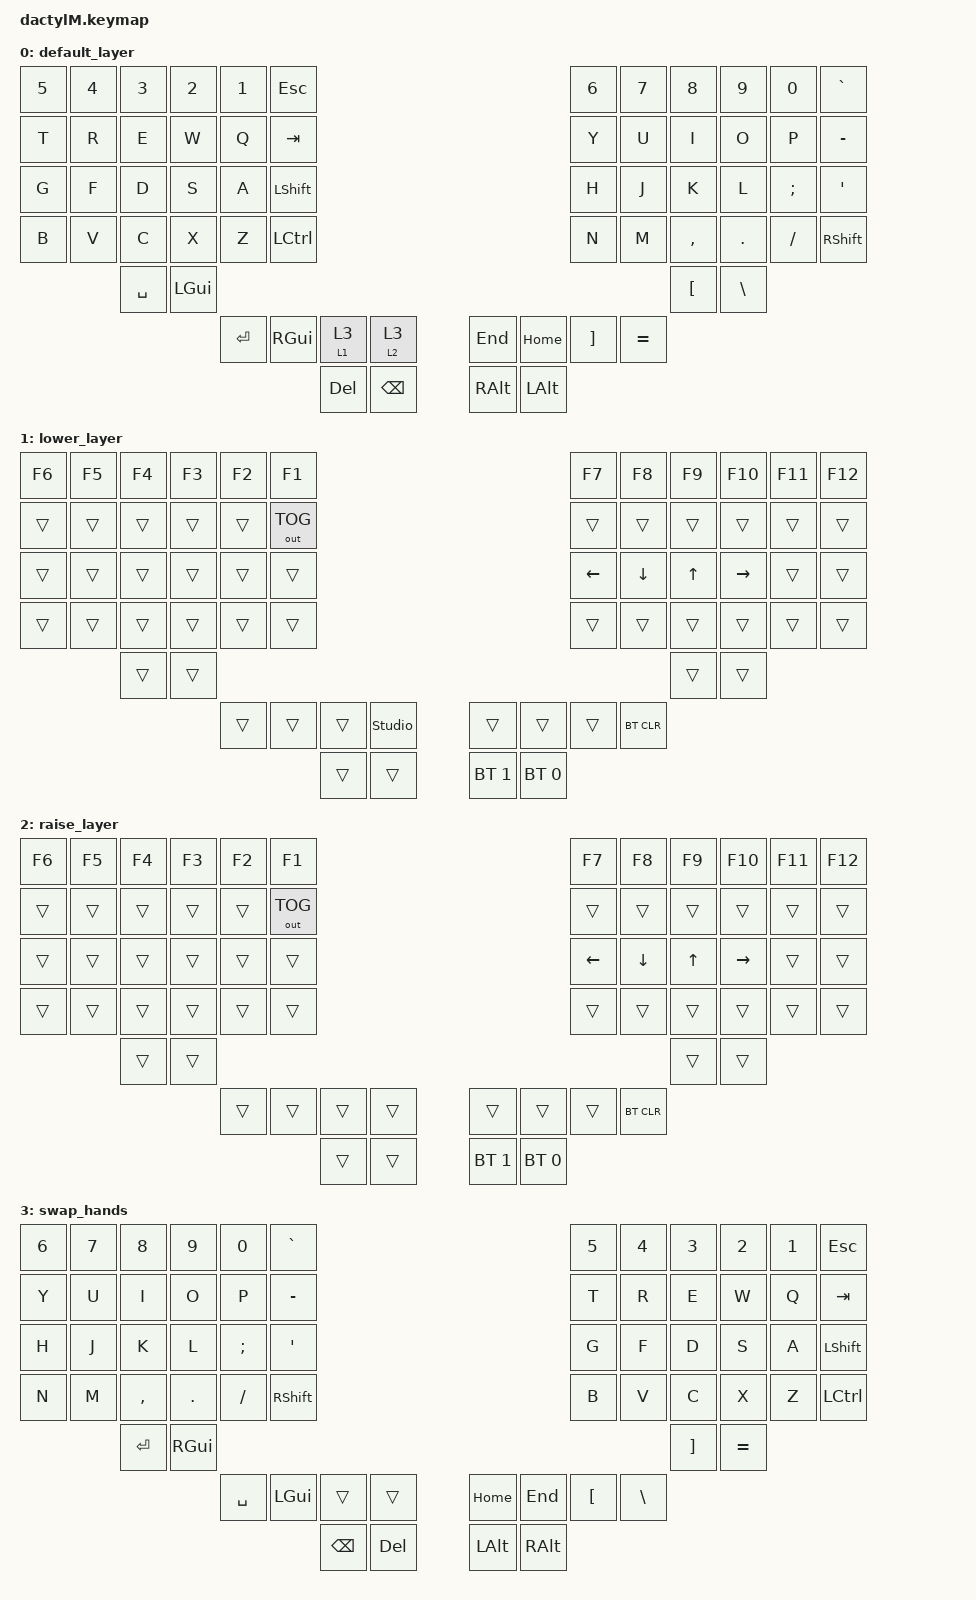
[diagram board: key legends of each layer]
#include <behaviors.dtsi>
#include <dt-bindings/zmk/bt.h>
#include <dt-bindings/zmk/keys.h>
#include <dt-bindings/zmk/outputs.h>

#define DEFAULT 0
#define LOWER 1
#define RAISE 2
#define SWAP 3

/ {

    behaviors {
        mo_sl: behavior_mo_tog {
            compatible = "zmk,behavior-hold-tap";
            #binding-cells = <2>;
            flavor = "hold-preferred";
            tapping-term-ms = <250>;
            bindings = <&mo>, <&sl>;
        };
    };

    keymap {
        compatible = "zmk,keymap";

        default_layer {
            bindings = <
                &kp ESC   &kp N1 &kp N2   &kp N3   &kp N4     &kp N5              &kp N6     &kp N7     &kp N8    &kp N9    &kp N0   &kp GRAVE
                &kp TAB   &kp Q  &kp W    &kp E    &kp R      &kp T               &kp Y      &kp U      &kp I     &kp O     &kp P    &kp MINUS
                &kp LSHFT &kp A  &kp S    &kp D    &kp F      &kp G               &kp H      &kp J      &kp K     &kp L     &kp SEMI &kp SQT
                &kp LCTRL &kp Z  &kp X    &kp C    &kp V      &kp B               &kp N      &kp M      &kp COMMA &kp DOT   &kp FSLH &kp RSHFT
                                 &kp BSLH &kp LBKT                                                      &kp RBKT  &kp EQUAL
                                                   &kp LGUI   &kp SPACE           &kp RETURN &kp RGUI
                                                   &mo_sl 1 3 &kp DEL             &kp BSPC   &mo_sl 2 3
                                                   &kp LALT   &kp HOME            &kp END    &kp RALT
            >;
        };

        lower_layer {
            bindings = <
                &kp F1       &kp F2 &kp F3 &kp F4 &kp F5        &kp F6            &kp F7   &kp F8   &kp F9 &kp F10   &kp F11 &kp F12
                &out OUT_TOG &trans &trans &trans &trans        &trans            &trans   &trans   &trans &trans    &trans  &trans
                &trans       &trans &trans &trans &trans        &trans            &kp LEFT &kp DOWN &kp UP &kp RIGHT &trans  &trans
                &trans       &trans &trans &trans &trans        &trans            &trans   &trans   &trans &trans    &trans  &trans
                                    &trans &trans                                                   &trans &bt BT_CLR
                                                  &trans        &trans            &trans   &trans
                                                  &trans        &trans            &trans   &studio_unlock
                                                  &bt BT_SEL 0  &trans            &trans   &bt BT_SEL 1
            >;
        };

        raise_layer {
            bindings = <
                &kp F1       &kp F2 &kp F3  &kp F4 &kp F5        &kp F6           &kp F7   &kp F8   &kp F9  &kp F10    &kp F11 &kp F12
                &out OUT_TOG &trans &trans  &trans &trans        &trans           &trans   &trans   &trans  &trans     &trans  &trans
                &trans       &trans &trans  &trans &trans        &trans           &kp LEFT &kp DOWN &kp UP  &kp RIGHT  &trans  &trans
                &trans       &trans &trans  &trans &trans        &trans           &trans   &trans   &trans  &trans     &trans  &trans
                                    &trans  &trans                                                  &trans  &bt BT_CLR
                                                   &trans        &trans           &trans   &trans
                                                   &trans        &trans           &trans   &trans                                      
                                                   &bt BT_SEL 0  &trans           &trans   &bt BT_SEL 1
            >;
        };

        swap_hands {
            bindings = <
                &kp GRAVE &kp N0   &kp N9    &kp N8    &kp N7   &kp N6            &kp N5    &kp N4   &kp N3   &kp N2   &kp N1 &kp ESC
                &kp MINUS &kp P    &kp O     &kp I     &kp U    &kp Y             &kp T     &kp R    &kp E    &kp W    &kp Q  &kp TAB
                &kp SQT   &kp SEMI &kp L     &kp K     &kp J    &kp H             &kp G     &kp F    &kp D    &kp S    &kp A  &kp LSHFT
                &kp RSHFT &kp FSLH &kp DOT   &kp COMMA &kp M    &kp N             &kp B     &kp V    &kp C    &kp X    &kp Z  &kp LCTRL
                                   &kp EQUAL &kp RBKT                                                &kp LBKT &kp BSLH
                                                       &kp RGUI &kp RETURN        &kp SPACE &kp LGUI
                                                       &trans   &kp BSPC          &kp DEL   &trans
                                                       &kp RALT &kp END           &kp HOME  &kp LALT
            >;
        };
    };
};
